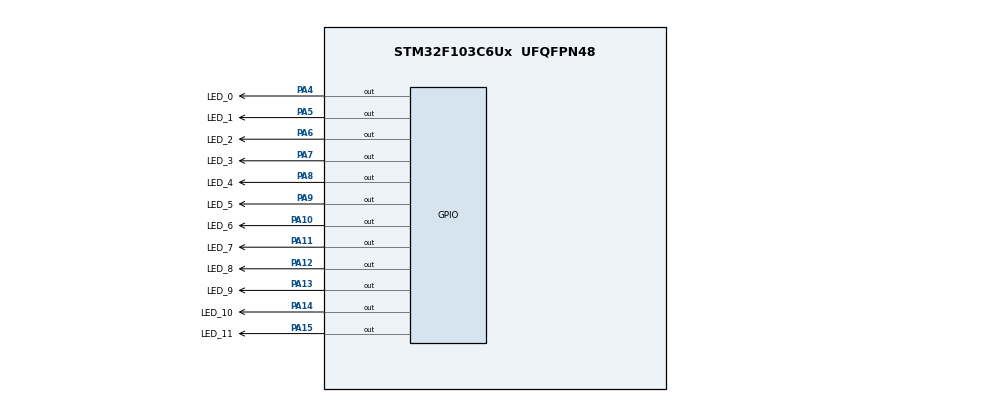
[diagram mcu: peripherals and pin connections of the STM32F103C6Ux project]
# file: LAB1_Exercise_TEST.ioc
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Mcu.Family=STM32F1
Mcu.Name=STM32F103C6Ux
Mcu.Package=UFQFPN48
NVIC.PriorityGroup=NVIC_PRIORITYGROUP_4
PA10.GPIO_Label=LED_6
PA10.Signal=GPIO_Output
PA11.GPIO_Label=LED_7
PA11.Signal=GPIO_Output
PA12.GPIO_Label=LED_8
PA12.Signal=GPIO_Output
PA13.GPIO_Label=LED_9
PA13.Signal=GPIO_Output
PA14.GPIO_Label=LED_10
PA14.Signal=GPIO_Output
PA15.GPIO_Label=LED_11
PA15.Signal=GPIO_Output
PA4.GPIO_Label=LED_0
PA4.Signal=GPIO_Output
PA5.GPIO_Label=LED_1
PA5.Signal=GPIO_Output
PA6.GPIO_Label=LED_2
PA6.Signal=GPIO_Output
PA7.GPIO_Label=LED_3
PA7.Signal=GPIO_Output
PA8.GPIO_Label=LED_4
PA8.Signal=GPIO_Output
PA9.GPIO_Label=LED_5
PA9.Signal=GPIO_Output
ProjectManager.HeapSize=0x200
ProjectManager.StackSize=0x400
ProjectManager.TargetToolchain=STM32CubeIDE
RCC.APB1Freq_Value=8000000
RCC.APB2Freq_Value=8000000
VP_SYS_VS_ND.Mode=No_Debug
board=custom

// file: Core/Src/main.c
/* USER CODE BEGIN Header */
/**
  ******************************************************************************
  * @file           : main.c
  * @brief          : Main program body
  ******************************************************************************
  * @attention
  *
  * <h2><center>&copy; Copyright (c) 2025 STMicroelectronics.
  * All rights reserved.</center></h2>
  *
  * This software component is licensed by ST under BSD 3-Clause license,
  * the "License"; You may not use this file except in compliance with the
  * License. You may obtain a copy of the License at:
  *                        opensource.org/licenses/BSD-3-Clause
  *
  ******************************************************************************
  */
/* USER CODE END Header */
#include "main.h"

void SystemClock_Config(void);
static void MX_GPIO_Init(void);

int main(void)
{

  /* MCU Configuration--------------------------------------------------------*/

  /* Reset of all peripherals, Initializes the Flash interface and the Systick. */
  HAL_Init();

  /* Configure the system clock */
  SystemClock_Config();

  /* Initialize all configured peripherals */
  MX_GPIO_Init();

  /* Infinite loop */
  /* USER CODE BEGIN WHILE */
  void setNumberOnClock(int num) {
	switch(num) {
	case 0:
		HAL_GPIO_WritePin(GPIOA, GPIO_PIN_4, SET);
		break;
	case 1:
		HAL_GPIO_WritePin(GPIOA, GPIO_PIN_5, SET);
		break;
	case 2:
		HAL_GPIO_WritePin(GPIOA, GPIO_PIN_6, SET);
		break;
	case 3:
		HAL_GPIO_WritePin(GPIOA, GPIO_PIN_7, SET);
		break;
	case 4:
		HAL_GPIO_WritePin(GPIOA, GPIO_PIN_8, SET);
		break;
	case 5:
		HAL_GPIO_WritePin(GPIOA, GPIO_PIN_9, SET);
		break;
	case 6:
		HAL_GPIO_WritePin(GPIOA, GPIO_PIN_10, SET);
		break;
	case 7:
		HAL_GPIO_WritePin(GPIOA, GPIO_PIN_11, SET);
		break;
	case 8:
		HAL_GPIO_WritePin(GPIOA, GPIO_PIN_12, SET);
		break;
	case 9:
		HAL_GPIO_WritePin(GPIOA, GPIO_PIN_13, SET);
		break;
	case 10:
		HAL_GPIO_WritePin(GPIOA, GPIO_PIN_14, SET);
		break;
	case 11:
		HAL_GPIO_WritePin(GPIOA, GPIO_PIN_15, SET);
		break;
	default:
		break;
	}
}

void clearNumberOnClock(int num) {
	switch(num) {
	case 0:
		HAL_GPIO_WritePin(GPIOA, GPIO_PIN_4, RESET);
		break;
	case 1:
		HAL_GPIO_WritePin(GPIOA, GPIO_PIN_5, RESET);
		break;
	case 2:
		HAL_GPIO_WritePin(GPIOA, GPIO_PIN_6, RESET);
		break;
	case 3:
		HAL_GPIO_WritePin(GPIOA, GPIO_PIN_7, RESET);
		break;
	case 4:
		HAL_GPIO_WritePin(GPIOA, GPIO_PIN_8, RESET);
		break;
	case 5:
		HAL_GPIO_WritePin(GPIOA, GPIO_PIN_9, RESET);
		break;
	case 6:
		HAL_GPIO_WritePin(GPIOA, GPIO_PIN_10, RESET);
		break;
	case 7:
		HAL_GPIO_WritePin(GPIOA, GPIO_PIN_11, RESET);
		break;
	case 8:
		HAL_GPIO_WritePin(GPIOA, GPIO_PIN_12, RESET);
		break;
	case 9:
		HAL_GPIO_WritePin(GPIOA, GPIO_PIN_13, RESET);
		break;
	case 10:
		HAL_GPIO_WritePin(GPIOA, GPIO_PIN_14, RESET);
		break;
	case 11:
		HAL_GPIO_WritePin(GPIOA, GPIO_PIN_15, RESET);
		break;
	default:
		break;
	}
 }

  int second = 0;
  int min = 4;
  int hour =6;
  int second_prev = -1;
  int min_prev = -1;
  int hour_prev = -1;
  while (1)
  {

	  second_prev = second;
	  min_prev=min;
	  hour_prev=hour;

	  second--;
	  if (second <= 0) {
		  second = 59;
		  min--;
	  }

	  if (min <= 0) {
		  min = 59;

		  hour--;
	  }

	  if (hour <= 0) {
		  hour = 11;
	  }
	  int second_pos = second/5;
	  int min_pos = min/5;
	  int hour_pos = hour;

	  if (second_prev !=-1 && second_prev/5 != second_pos && second_prev/5 != hour_pos && second_prev/5 != second_pos) {
		  clearNumberOnClock(11-second_prev/5);
	  }
	  if (min_prev != -1 && min_prev/5 != min_pos && min_prev/5 != hour_pos && min_prev/5 != second_pos) {
		  clearNumberOnClock(11-min_prev/5);
	  }
	  if (hour_prev !=-1 && hour_prev != hour_pos && hour_prev != min_pos && hour_prev != second_pos) {
		  clearNumberOnClock(11-hour_prev);
	  }

	  setNumberOnClock(11-second/5);
	  setNumberOnClock(11-min/5);
	  setNumberOnClock(11-hour);

	  HAL_Delay(10);
    /* USER CODE END WHILE */

  }
}

void SystemClock_Config(void)
{
  RCC_OscInitTypeDef RCC_OscInitStruct = {0};
  RCC_ClkInitTypeDef RCC_ClkInitStruct = {0};

  /** Initializes the RCC Oscillators according to the specified parameters
  * in the RCC_OscInitTypeDef structure.
  */
  RCC_OscInitStruct.OscillatorType = RCC_OSCILLATORTYPE_HSI;
  RCC_OscInitStruct.HSIState = RCC_HSI_ON;
  RCC_OscInitStruct.HSICalibrationValue = RCC_HSICALIBRATION_DEFAULT;
  RCC_OscInitStruct.PLL.PLLState = RCC_PLL_NONE;
  if (HAL_RCC_OscConfig(&RCC_OscInitStruct) != HAL_OK)
  {
    Error_Handler();
  }
  /** Initializes the CPU, AHB and APB buses clocks
  */
  RCC_ClkInitStruct.ClockType = RCC_CLOCKTYPE_HCLK|RCC_CLOCKTYPE_SYSCLK
                              |RCC_CLOCKTYPE_PCLK1|RCC_CLOCKTYPE_PCLK2;
  RCC_ClkInitStruct.SYSCLKSource = RCC_SYSCLKSOURCE_HSI;
  RCC_ClkInitStruct.AHBCLKDivider = RCC_SYSCLK_DIV1;
  RCC_ClkInitStruct.APB1CLKDivider = RCC_HCLK_DIV1;
  RCC_ClkInitStruct.APB2CLKDivider = RCC_HCLK_DIV1;

  if (HAL_RCC_ClockConfig(&RCC_ClkInitStruct, FLASH_LATENCY_0) != HAL_OK)
  {
    Error_Handler();
  }
}

static void MX_GPIO_Init(void)
{
  GPIO_InitTypeDef GPIO_InitStruct = {0};

  /* GPIO Ports Clock Enable */
  __HAL_RCC_GPIOA_CLK_ENABLE();

  /*Configure GPIO pin Output Level */
  HAL_GPIO_WritePin(GPIOA, LED_0_Pin|LED_1_Pin|LED_2_Pin|LED_3_Pin
                          |LED_4_Pin|LED_5_Pin|LED_6_Pin|LED_7_Pin
                          |LED_8_Pin|LED_9_Pin|LED_10_Pin|LED_11_Pin, GPIO_PIN_RESET);

  /*Configure GPIO pins : LED_0_Pin LED_1_Pin LED_2_Pin LED_3_Pin
                           LED_4_Pin LED_5_Pin LED_6_Pin LED_7_Pin
                           LED_8_Pin LED_9_Pin LED_10_Pin LED_11_Pin */
  GPIO_InitStruct.Pin = LED_0_Pin|LED_1_Pin|LED_2_Pin|LED_3_Pin
                          |LED_4_Pin|LED_5_Pin|LED_6_Pin|LED_7_Pin
                          |LED_8_Pin|LED_9_Pin|LED_10_Pin|LED_11_Pin;
  GPIO_InitStruct.Mode = GPIO_MODE_OUTPUT_PP;
  GPIO_InitStruct.Pull = GPIO_NOPULL;
  GPIO_InitStruct.Speed = GPIO_SPEED_FREQ_LOW;
  HAL_GPIO_Init(GPIOA, &GPIO_InitStruct);

}

void Error_Handler(void)
{
  __disable_irq();
  while (1)
  {
  }
}

/************************ (C) COPYRIGHT STMicroelectronics *****END OF FILE****/
